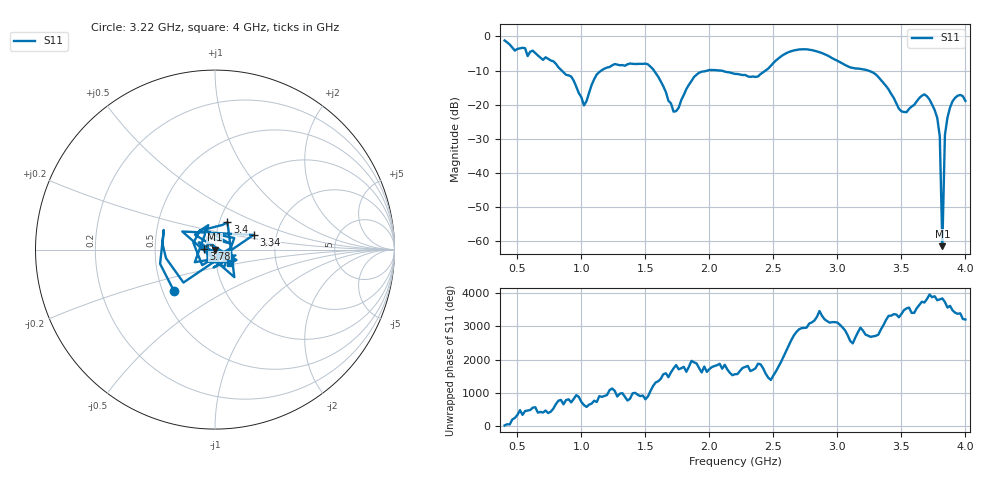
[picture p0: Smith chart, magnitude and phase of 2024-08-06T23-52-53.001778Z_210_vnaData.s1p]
!Created with skrf (http://scikit-rf.org).
# Hz S RI R 50.0
!freq ReS11 ImS11
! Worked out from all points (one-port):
!   181 points, 400 MHz to 4 GHz, reference 50 ohm
!   lowest |S11| = -61.5 dB at 3.82 GHz (marker M1), VSWR 1.00, Z = 49.9 - j0.0625 ohm
!   |S11| at or under -10 dB: 1.567 GHz to 1.986 GHz (419.5 MHz wide, 23.6 % of centre); 2.087 GHz to 2.439 GHz (352.5 MHz wide, 15.6 % of centre); 3.239 GHz to end of sweep (the widest 3 of 4)
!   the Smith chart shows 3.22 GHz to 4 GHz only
!   S11 on the Smith chart (normalised r, x): 3.22 GHz: 0.57, -0.29; 3.34 GHz: 1.52, +0.26; 3.4 GHz: 1.09, +0.34; 3.78 GHz: 0.88, +0.01; 4 GHz: 1.17, -0.18
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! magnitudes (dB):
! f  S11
! 400 MHz  -1.2
! 860 MHz  -10.5
! 920 MHz  -11.8
! 1.02 GHz  -20.2
! 1.12 GHz  -11.2
! 1.3 GHz  -8.5
! 1.52 GHz  -8.2
! 1.62 GHz  -13.2
! 1.72 GHz  -22.1
! 1.76 GHz  -20.9
! 1.92 GHz  -10.6
! 2.2 GHz  -11.0
! 2.38 GHz  -11.7
! 2.66 GHz  -4.1
! 3.1 GHz  -9.1
! 3.22 GHz  -9.8
! 3.34 GHz  -12.8
! 3.4 GHz  -15.5
! 3.5 GHz  -22.0
! 3.56 GHz  -21.2
! 3.68 GHz  -17.0
! 3.78 GHz  -23.9
! 3.8 GHz  -29.3
! 3.82 GHz  -61.5
! 3.84 GHz  -28.9
! 3.86 GHz  -23.8
! 3.92 GHz  -18.0
! 4 GHz  -18.9
